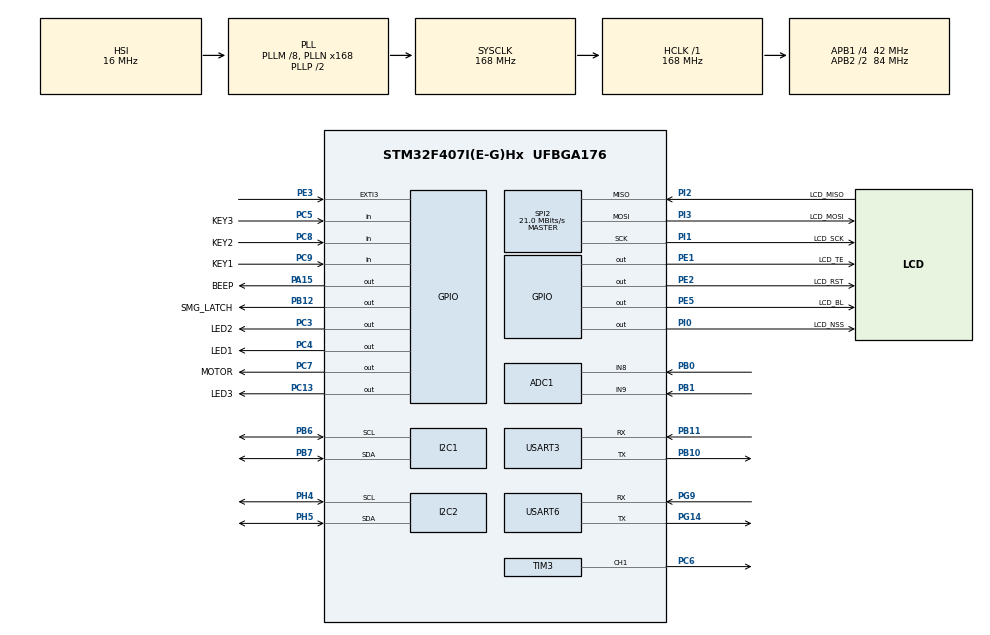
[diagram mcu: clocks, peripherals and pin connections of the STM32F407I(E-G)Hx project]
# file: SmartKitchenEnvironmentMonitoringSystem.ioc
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ADC1.Channel-3\#ChannelRegularConversion=ADC_CHANNEL_8
ADC1.Channel-4\#ChannelRegularConversion=ADC_CHANNEL_9
ADC1.ContinuousConvMode=ENABLE
ADC1.DMAContinuousRequests=ENABLE
ADC1.NbrOfConversion=2
ADC1.NbrOfConversionFlag=1
ADC1.Rank-3\#ChannelRegularConversion=1
ADC1.Rank-4\#ChannelRegularConversion=2
ADC1.SamplingTime-3\#ChannelRegularConversion=ADC_SAMPLETIME_84CYCLES
ADC1.SamplingTime-4\#ChannelRegularConversion=ADC_SAMPLETIME_84CYCLES
ADC1.ScanConvMode=ENABLE
ADC1.master=1
Dma.ADC1.0.Direction=DMA_PERIPH_TO_MEMORY
Dma.ADC1.0.FIFOMode=DMA_FIFOMODE_ENABLE
Dma.ADC1.0.FIFOThreshold=DMA_FIFO_THRESHOLD_FULL
Dma.ADC1.0.Instance=DMA2_Stream0
Dma.ADC1.0.MemBurst=DMA_MBURST_SINGLE
Dma.ADC1.0.MemDataAlignment=DMA_MDATAALIGN_HALFWORD
Dma.ADC1.0.MemInc=DMA_MINC_ENABLE
Dma.ADC1.0.Mode=DMA_CIRCULAR
Dma.ADC1.0.PeriphBurst=DMA_PBURST_SINGLE
Dma.ADC1.0.PeriphDataAlignment=DMA_PDATAALIGN_HALFWORD
Dma.ADC1.0.PeriphInc=DMA_PINC_DISABLE
Dma.ADC1.0.Priority=DMA_PRIORITY_LOW
Dma.Request0=ADC1
FREERTOS.Queues01=qSensorData,4,SensorData_t,0,Dynamic,NULL,NULL
FREERTOS.Tasks01=defaultTask,24,128,StartDefaultTask,Default,NULL,Dynamic,NULL,NULL;LCDTask,8,1024,DisplayTask,Default,NULL,Dynamic,NULL,NULL;SensorTask,32,1024,SensorTaskEntry,Default,NULL,Dynamic,NULL,NULL;WifiTask,40,1536,WifiTaskEntry,Default,NULL,Dynamic,NULL,NULL;LogTask,16,512,LogTaskEntry,Default,NULL,Dynamic,NULL,NULL;AlarmTask,48,512,AlarmTaskEntry,Default,NULL,Dynamic,NULL,NULL
FREERTOS.configTOTAL_HEAP_SIZE=24576
I2C2.I2C_Mode=I2C_Fast
Mcu.Family=STM32F4
Mcu.Name=STM32F407I(E-G)Hx
Mcu.Package=UFBGA176
NVIC.DMA2_Stream0_IRQn=true\:5\:0\:false\:false\:true\:true\:false\:true\:true
NVIC.EXTI3_IRQn=true\:5\:0\:false\:false\:true\:true\:true\:true\:true
NVIC.FLASH_IRQn=true\:5\:0\:false\:false\:true\:true\:true\:true\:true
NVIC.I2C1_ER_IRQn=true\:5\:0\:false\:false\:true\:true\:true\:true\:true
NVIC.I2C1_EV_IRQn=true\:5\:0\:false\:false\:true\:true\:true\:true\:true
NVIC.PriorityGroup=NVIC_PRIORITYGROUP_4
NVIC.TIM2_IRQn=true\:5\:0\:false\:false\:true\:true\:true\:true\:true
NVIC.TIM6_DAC_IRQn=true\:15\:0\:false\:false\:true\:false\:false\:true\:true
NVIC.TimeBase=TIM6_DAC_IRQn
NVIC.TimeBaseIP=TIM6
NVIC.USART3_IRQn=true\:6\:0\:true\:false\:true\:true\:true\:true\:true
PA13.Mode=Serial_Wire
PA13.Signal=SYS_JTMS-SWDIO
PA14.Mode=Serial_Wire
PA14.Signal=SYS_JTCK-SWCLK
PA15.GPIO_Label=BEEP
PA15.PinState=GPIO_PIN_RESET
PA15.Signal=GPIO_Output
PB0.Signal=ADCx_IN8
PB1.Signal=ADCx_IN9
PB10.Mode=Asynchronous
PB10.Signal=USART3_TX
PB11.Mode=Asynchronous
PB11.Signal=USART3_RX
PB12.GPIO_Label=SMG_LATCH
PB12.Signal=GPIO_Output
PB6.Mode=I2C
PB6.Signal=I2C1_SCL
PB7.Mode=I2C
PB7.Signal=I2C1_SDA
PC13-ANTI_TAMP.GPIO_Label=LED3
PC13-ANTI_TAMP.Signal=GPIO_Output
PC3.GPIO_Label=LED2
PC3.Signal=GPIO_Output
PC4.GPIO_Label=LED1
PC4.GPIO_Speed=GPIO_SPEED_FREQ_LOW
PC4.PinState=GPIO_PIN_SET
PC4.Signal=GPIO_Output
PC5.GPIO_Label=KEY3
PC5.GPIO_PuPd=GPIO_PULLUP
PC5.Signal=GPIO_Input
PC6.Signal=S_TIM3_CH1
PC7.GPIO_Label=MOTOR
PC7.Signal=GPIO_Output
PC8.GPIO_Label=KEY2
PC8.GPIO_PuPd=GPIO_PULLUP
PC8.Signal=GPIO_Input
PC9.GPIO_Label=KEY1
PC9.Signal=GPIO_Input
PE1.GPIO_Label=LCD_TE
PE1.Signal=GPIO_Output
PE2.GPIO_Label=LCD_RST
PE2.GPIO_Speed=GPIO_SPEED_FREQ_VERY_HIGH
PE2.PinState=GPIO_PIN_SET
PE2.Signal=GPIO_Output
PE3.Signal=GPXTI3
PE5.GPIO_Label=LCD_BL
PE5.PinState=GPIO_PIN_SET
PE5.Signal=GPIO_Output
PG14.Mode=Asynchronous
PG14.Signal=USART6_TX
PG9.Mode=Asynchronous
PG9.Signal=USART6_RX
PH0-OSC_IN.Mode=HSE-External-Oscillator
PH0-OSC_IN.Signal=RCC_OSC_IN
PH1-OSC_OUT.Mode=HSE-External-Oscillator
PH1-OSC_OUT.Signal=RCC_OSC_OUT
PH4.Mode=I2C
PH4.Signal=I2C2_SCL
PH5.Mode=I2C
PH5.Signal=I2C2_SDA
PI0.GPIO_Label=LCD_NSS
PI0.GPIO_Speed=GPIO_SPEED_FREQ_VERY_HIGH
PI0.PinState=GPIO_PIN_SET
PI0.Signal=GPIO_Output
PI1.GPIO_Label=LCD_SCK
PI1.Mode=Full_Duplex_Master
PI1.Signal=SPI2_SCK
PI2.GPIO_Label=LCD_MISO
PI2.Mode=Full_Duplex_Master
PI2.Signal=SPI2_MISO
PI3.GPIO_Label=LCD_MOSI
PI3.Mode=Full_Duplex_Master
PI3.Signal=SPI2_MOSI
ProjectManager.HeapSize=0x200
ProjectManager.StackSize=0x800
ProjectManager.TargetToolchain=MDK-ARM V5.32
RCC.48MHZClocksFreq_Value=84000000
RCC.AHBFreq_Value=168000000
RCC.APB1CLKDivider=RCC_HCLK_DIV4
RCC.APB1Freq_Value=42000000
RCC.APB1TimFreq_Value=84000000
RCC.APB2CLKDivider=RCC_HCLK_DIV2
RCC.APB2Freq_Value=84000000
RCC.APB2TimFreq_Value=168000000
RCC.CortexFreq_Value=168000000
RCC.HCLKFreq_Value=168000000
RCC.HSE_VALUE=25000000
RCC.HSI_VALUE=16000000
RCC.LSE_VALUE=32768
RCC.PLLM=8
RCC.PLLN=168
RCC.SYSCLKFreq_VALUE=168000000
RCC.SYSCLKSource=RCC_SYSCLKSOURCE_PLLCLK
RCC.VCOOutputFreq_Value=336000000
SH.ADCx_IN8.0=ADC1_IN8,IN8
SH.ADCx_IN9.0=ADC1_IN9,IN9
SH.S_TIM3_CH1.0=TIM3_CH1,PWM Generation1 CH1
SPI2.CalculateBaudRate=21.0 MBits/s
SPI2.Direction=SPI_DIRECTION_2LINES
SPI2.Mode=SPI_MODE_MASTER
SPI2.VirtualType=VM_MASTER
TIM2.Period=999
TIM2.Prescaler=83
TIM3.Channel-PWM\ Generation1\ CH1=TIM_CHANNEL_1
TIM3.Period=999
TIM3.Prescaler=83
USART3.VirtualMode=VM_ASYNC
USART6.VirtualMode=VM_ASYNC
VP_ADC1_TempSens_Input.Mode=IN-TempSens
VP_ADC1_Vbat_Input.Mode=IN-Vbat
VP_ADC1_Vref_Input.Mode=IN-Vrefint
VP_FREERTOS_VS_CMSIS_V2.Mode=CMSIS_V2
VP_SYS_VS_tim6.Mode=TIM6
VP_TIM2_VS_ClockSourceINT.Mode=Internal
VP_TIM3_VS_ClockSourceINT.Mode=Internal
board=custom

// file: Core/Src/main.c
/* USER CODE BEGIN Header */
/**
  ******************************************************************************
  * @file           : main.c
  * @brief          : Main program body
  ******************************************************************************
  * @attention
  *
  * Copyright (c) 2026 STMicroelectronics.
  * All rights reserved.
  *
  * This software is licensed under terms that can be found in the LICENSE file
  * in the root directory of this software component.
  * If no LICENSE file comes with this software, it is provided AS-IS.
  *
  ******************************************************************************
  */
/* USER CODE END Header */
#include "main.h"
#include "cmsis_os.h"
#include "adc.h"
#include "dma.h"
#include "i2c.h"
#include "spi.h"
#include "tim.h"
#include "usart.h"
#include "gpio.h"

/* USER CODE BEGIN Includes */
#include "bsp_tick.h"
#include "debug_uart.h"
#include "bsp_led.h"
#include "bsp_key.h"
#include "bsp_smg.h"
#include "bsp_beep.h"
#include "bsp_fan.h"
#include "bsp_adc.h"
#include "app_power.h"
#include "bsp_flame.h"
#include "app_state.h"
#include "alarm.h"
#include "drv_sht20.h"       /* 温湿度传感器，非阻塞状态机 */
#include "drv_ap3216c.h"    /* 光照+接近传感器，寄存器式 I2C */
#include "bsp_wifi.h"        /* ESP8266，USART3 */
#include "app_cloud.h"       /* 云端应用层，需求 12/13 */

#include "bsp_ft6336.h"
#include "bsp_ili9341_4line.h"

#include "lvgl.h"
#include "lv_port_disp.h"
#include "lv_port_indev.h"

#include "stdio.h"
#include "ui.h"
#include "ui_custom.h"
/* USER CODE END Includes */

/* USER CODE BEGIN PTD */
#define PAGE_NORMAL_CNT   5u
#define PAGE_ADMIN_CNT    4u
/* USER CODE END PTD */

void SystemClock_Config(void);
void MX_FREERTOS_Init(void);

/* USER CODE BEGIN 0 */
uint8_t s_demo_alarm = 0;   /* 1 = KEY3 手动演示报警中（绕过真实状态机）
                                    *   放文件作用域是因为 main() 主循环和 Ui_Task()
                                    *   都要看它：主循环决定 Alarm_Apply 传哪个状态，
                                    *   Ui_Task 决定显示报警码还是读数 */

/**
 * @brief  按键响应 + 数码管上屏。主循环每圈调一次
 * @note   必须是独立函数 —— 里面用 return 提前退出（报警态覆盖），
 *         若直接写在 while(1) 里，return 会结束 main 让系统停摆。
 */
void Ui_Task(void)
{
    /* ---- 状态变量：static 保证跨圈保留，不加就每圈归零 ---- */
    static uint8_t  s_mode     = 0;      /* 0 = NORMAL   1 = ADMIN */
    static uint8_t  s_page     = 0;      /* 当前页号 */
    static uint32_t s_t_blink  = 0;      /* ADMIN 模式整屏闪烁计时 */
    static uint8_t  s_blink_on = 1;      /* 1 = 亮相位  0 = 灭相位 */

    float   v;                           /* 本页要显示的物理量 */
    int32_t n;                           /* ×100 后的整数 */

    /* ==================== ① 按键 ==================== */

    /* KEY1：切模式，切完回第一页（否则页号越界）*/
    if (Key_GetPressEvent(KEY_ID_1)) {
        s_mode = (uint8_t)(s_mode ^ 1u);
        s_page = 0;
    }

    /* KEY2：翻页，页数随模式变 */
    if (Key_GetPressEvent(KEY_ID_2)) {
        if (s_mode == 0u) {
            s_page = (uint8_t)((s_page + 1u) % PAGE_NORMAL_CNT);   /* 5 页 */
        } else {
            s_page = (uint8_t)((s_page + 1u) % PAGE_ADMIN_CNT);    /* 4 个阈值 */
        }
    }

    /* KEY3：报警演示 / 静音切换
     *   ① 没在报警 → 进「演示报警」：灯闪 + 蜂鸣器 + 风扇全速 + 马达开 + 数码管 8888
     *   ② 演示中    → 退出演示，蜂鸣器/风扇/马达一起停
     *   ③ 真报警中  → 静音 ⇄ 响 切换（原有功能） */
    if (Key_GetPressEvent(KEY_ID_3)) {
        if (s_demo_alarm != 0u) {
            /* ---- 退出演示：无条件全停 ----
             * ⚠️ 这里不再判断 App_State_Get()。上一版加了
             *    `if (App_State_Get() != SYS_ALARM)` 想"真报警就别硬停"，
             *    结果只要状态机留在 ALARM 就一次都不停 —— 演示开关
             *    反而关不掉，最坏的情况。
             *    退出演示是用户明确的意图，就必须无条件执行。 */
            s_demo_alarm = 0u;
            Beep_Stop();
            Fan_Off();                       /* 风扇：CCR1 = 0 */
            MOTOR_OFF();                     /* 马达：PC7 = 低 */
            Alarm_Reset();                   /* 作废 s_cur，逼下一圈重走分支 */

            printf("KEY3 EXIT demo: state=%d fan=%u\r\n",
                   (int)App_State_Get(), (unsigned)Fan_GetSpeed());
        } else if (App_State_Get() == SYS_ALARM) {
            Alarm_ToggleSilence();           /* 真报警：只切蜂鸣器，灯/风扇/马达继续 */
        } else {
            s_demo_alarm = 1u;               /* 进演示：主循环会 Alarm_Apply(SYS_ALARM) */
            Beep_Stop();                     /* 先把上一声掐掉，让 Alarm_Task 从头响 */
        }
    }

    /* ==================== ② ADMIN 整屏闪烁计时 ==================== */
    /* 500ms 翻转一次 → 1Hz 闪。只在 ADMIN 模式推进，切回 NORMAL 立刻恢复常亮 */
    if (s_mode == 1u) {
        if (Tick_Expired(&s_t_blink, 500u)) {
            s_blink_on = (uint8_t)(s_blink_on ^ 1u);
        }
    } else {
        s_blink_on = 1u;                 /* NORMAL 保持常亮 */
        s_t_blink  = Tick_Ms();          /* 重置计时，下次进 ADMIN 从头算 */
    }

    /* ==================== ③ 报警态强制显示报警码 ==================== */
    /* s_demo_alarm 也要走这里：演示时状态机是 NORMAL，但画面必须像真报警 */
    if (s_demo_alarm != 0u || App_State_Get() == SYS_ALARM) {
        if (s_demo_alarm != 0u || App_State_GetReason() == ALARM_POWER) {
            Smg_ShowNum(8888u);          /* ← 用电异常码：四个 8（演示也用这个） */
        } else {
            Smg_ShowNum(9999u);          /*   明火报警码：四个 9 */
        }
        return;                          /* ⚠️ 退出 Ui_Task，别覆盖报警码 */
    }

    /* ==================== ④ 按模式选值 ==================== */
    if(s_mode == 0u) {
        /* ---- NORMAL：5 页测量值 ---- */
        switch (s_page) {
            case 0:  v = Sht20_GetTemp();       break;   /* 温度：28.43 */
            case 1:  v = Sht20_GetHumi();       break;   /* 湿度：57.60 */
            case 2:  /* 电压：5.00 → "05.00"，四位全亮（前导 0 保留，不熄灭） */
                     n = (int32_t)(Power_GetVoltage() * 100.0f + 0.5f);
                     if (n < 0)    { n = 0; }
                     if (n > 9999) { n = 9999; }
                     Smg_ShowDp((uint32_t)n, 1u);
                     return;
            case 3:  /* 电流：直接显示 mA → "0199"，四位全亮（单位 mA，答辩时说清）
                      *  ↑ 为什么不显示 A：0.199A 要显示成 "0.20"，得占 4 位且小数点在
                      *    第一位后，Smg_ShowDp 做出来是 "002.0" —— 会被读成 2A，非常危险。
                      *    显示 mA 没有歧义 */
                     n = (int32_t)(Power_GetCurrent() + 0.5f);
                     if (n < 0)    { n = 0;    }
                     if (n > 9999) { n = 9999; }
                     Smg_ShowNum((uint32_t)n);
                     return;
            default: v = 0.0f;                break;   /* 第 4 页报警码，正常时不显示 */
        }
    }else {
        /* ---- ADMIN：4 个阈值，完整显示 xx.xx + 整屏 1Hz 闪烁 ---- */
        v = App_State_GetThreshold((ThId_t)s_page);
        n = (int32_t)(v * 100.0f + 0.5f);    /* 35.0 → 3500 */
        if (n < 0)    { n = 0;    }
        if (n > 9999) { n = 9999; }

        if (s_blink_on == 0u) {
            Smg_Clear();                     /* 灭相位：整屏熄灭 */
        } else {
            Smg_ShowDp((uint32_t)n, 2u);     /* 亮相位：35.00 / 33.00 / 85.00 / 80.00 */
        }
        /*  ↑ 为什么用「整屏闪」而不是「熄灭某一位」：
         *    熄灭一位看起来就是屏幕坏了（"百位不显示"），
         *    整屏闪烁既能一眼认出是设置模式，四个数字又都完整。
         *  ↑ 为什么灭相位调 Smg_Clear 而不是显示另一个数：
         *    显示另一个数会让屏幕像在"数字乱跳"，反而看不出是闪烁。 */
        return;
    }

    /* ==================== ⑤ NORMAL 换算：×100 四舍五入 + 钳位 ==================== */
    n = (int32_t)(v * 100.0f + 0.5f);    /* 四舍五入到两位小数 */

    if (n < 0)    { n = 0; }             /* 负值钳位，不然强转成 42 亿 */
    if (n > 9999) { n = 9999; }          /* 4 位装不下 */

    /* ==================== ⑥ NORMAL 上屏：带小数点，常亮 ==================== */
    Smg_ShowDp((uint32_t)n, 1u);         /* 27.63 / 56.37 / 5.00 / 0.20 */
}

void AlarmTask(void *argument)
{
    for (;;) {
        /* ① 按应用层算出来的状态，驱动 LED / 蜂鸣器 / 风扇 / 马达。
         *    Alarm_Apply 内部第一行就是 if (st == s_cur) return;
         *    所以这里每 10ms 调一次也不会重复动作，只有状态真正变了才切。 */
        Alarm_Apply(App_State_Get());

        /* ② 推进时序：LED 闪烁、蜂鸣器间歇鸣叫都是靠这三句每圈翻页 */
        Alarm_Task();
        Led_Task();
        Beep_Task();

        osDelay(10);
    }
}

/* ---- 让三屏所有后代对象把手势事件冒泡到 Screen ---- */
static void ui_gesture_bubble_rec(lv_obj_t *obj)
{
    uint32_t n = lv_obj_get_child_cnt(obj);
    for (uint32_t i = 0; i < n; i++) {
        lv_obj_t *c = lv_obj_get_child(obj, i);
        lv_obj_add_flag(c, LV_OBJ_FLAG_GESTURE_BUBBLE);
        ui_gesture_bubble_rec(c);
    }
}

/* USER CODE END 0 */

int main(void)
{

  /* USER CODE BEGIN 1 */
	HAL_NVIC_SetPriority(SysTick_IRQn, 0, 0);//
  /* USER CODE END 1 */

  /* MCU Configuration--------------------------------------------------------*/

  /* Reset of all peripherals, Initializes the Flash interface and the Systick. */
  HAL_Init();

  /* Configure the system clock */
  SystemClock_Config();

  /* Initialize all configured peripherals */
  MX_GPIO_Init();
  MX_DMA_Init();
  MX_SPI2_Init();
  MX_I2C1_Init();
  MX_ADC1_Init();
  MX_TIM2_Init();
  MX_TIM3_Init();
  MX_USART6_UART_Init();
  MX_USART3_UART_Init();
  MX_I2C2_Init();
  /* USER CODE BEGIN 2 */
	Wifi_Connect();
	/* ==================== ⓪ 显示栈（必须在最前面）==================== */
  /* 顺序不能乱：屏要复位 → LVGL 内核 → 显示驱动 → 输入驱动 → 建控件 */
	ILI9341_Init();        /* 屏幕硬件复位 + SPI 初始化 */
	FT6336_init();         /* 触摸芯片 */
	lv_init();             /* LVGL 内核 */
	lv_port_disp_init();   /* 注册显示驱动 —— LVGL 靠它知道往哪画 */
	lv_port_indev_init();  /* 注册输入驱动 */
	ui_init();             /* 创建三屏所有控件 */
	App_State_Init();      /* ★ 先把阈值/使能表填上，下面回填才读得到真值 */
	Ui_BindEvents();       /* ★ 再挂事件并回填（此时 s_th[] = {33,31,60,55}） */

	ui_gesture_bubble_rec(ui_ScreenMain);
  ui_gesture_bubble_rec(ui_ScreenSetting);
  ui_gesture_bubble_rec(ui_ScreenAlarm);
  ui_gesture_bubble_rec(ui_ScreenWifi);

  /* ==================== ① 时钟节拍 ==================== */
  Tick_Init();                      /* 空实现：SysTick 已由 HAL_Init 配好 1ms */

  /* ==================== ② 输出先摆到安全态 ==================== */
  /* ⚠️ 顺序讲究：先把所有会动的输出关掉，再启动任何外设。
     上电瞬间风扇/蜂鸣器/马达自己动一下，答辩现场很扣分。 */
  Led_Init();                       /* 三灯全灭 */
  Beep_Init();                      /* 蜂鸣器先哑着 */
  Fan_Init();                       /* 启动 TIM3_CH1 PWM，CCR=0 不转 */
  Smg_Init();                       /* ★ 启动 TIM2 1ms 中断；少这一句整屏不亮，
                                       因为没有任何人会去刷新 s_buf */
  MOTOR_OFF();                      /* PC7 马达停 */

  /* ==================== ③ 输入 ==================== */
  Key_Init();                       /* PC9/PC8/PC5 输入 + 上拉 */
  Flame_Init();                     /* PB3/PB4 双边沿 EXTI + NVIC */
  /* ⚠️ Flame_Init 必须排在 App_State_Task 之前：
     s_flame_lvl 是 static，初值 0，而 FLAME_ACTIVE_LEVEL 恰好也是 0，
     不先读一次真实电平，状态机会一直判「有火」，上电即 ALARM。 */

  /* ==================== ④ 传感器 ==================== */
  Sht20_Init();                     /* 复位温湿度状态机（不碰硬件） */
  Ap3216_Init();                    /* 光照 + 接近，寄存器式 I2C */
  Power_Init();                     /* 内含 Adc_Init：启动 ADC + DMA 循环搬运 */

  /* ==================== ⑤ 应用层 ==================== */
  /*App_State_Init();                  ★ 填阈值表。不调的话 s_th[] 全 0，
                                       温度 25 > 0 → 一上电就 WARN */
  Alarm_Init();                     /* s_cur 归位 NORMAL，风扇/马达停 */
  Cloud_Init();                     /* 云端层：清手动覆盖状态 */
	/* I2C1 先诊断总线（读线电平 + 必要时 9 脉冲解锁），再扫描地址。
	   两根线都低就别扫了 —— 128 个地址 × 2 次 × 10ms = 2.5 秒白等，
	   而且它会顶到 WWDG。 */
	{
	    uint8_t rc = I2C1_DiagAndRecover();
	    printf("[I2C1] diag rc=%u (0=OK 1=unlocked 2=hardware)\r\n", (unsigned)rc);

	    if (rc == 2u) {
	        printf("[I2C1] skip scan: check VCC of SHT20 / AP3216C, and PB6-PB7 wiring\r\n");
	    } else {
	        printf("[I2C1] scan start\r\n");
	        for (uint16_t a = 1; a < 128; a++) {
	            if (HAL_I2C_IsDeviceReady(&hi2c1, (uint16_t)(a << 1), 2, 10) == HAL_OK) {
	                printf("[I2C1] found 0x%02X\r\n", (unsigned)a);
	            }
	        }
	        printf("[I2C1] scan done\r\n");
	    }
	}

	/* I2C2（触摸 FT6336，PH4/PH5）：这条一直通，扫一遍当对照组 */
	printf("[I2C2] scan start\r\n");
	for (uint8_t a = 1; a < 128; a++) {
	    if (HAL_I2C_IsDeviceReady(&hi2c2, (uint16_t)(a << 1), 2, 10) == HAL_OK) {
	        printf("[I2C2] found 0x%02X\r\n", a);
	    }
	}
	printf("[I2C2] scan done\r\n");

  /* 挂上 ESP8266 接收。只挂这一次 ——
     回调里每帧结束会自己重新挂，多挂一次会导致第一帧被覆盖 */
  HAL_UARTEx_ReceiveToIdle_IT(&huart3, USART3_RxBuff, BSP_WIFI_RX_BUF_SIZE - 1);

  /* USER CODE END 2 */

  /* Init scheduler */
  osKernelInitialize();  /* Call init function for freertos objects (in cmsis_os2.c) */
  MX_FREERTOS_Init();

  /* Start scheduler */
  osKernelStart();

  /* We should never get here as control is now taken by the scheduler */

  /* Infinite loop */
  while (1)
  {

  }
}

void SystemClock_Config(void)
{
  RCC_OscInitTypeDef RCC_OscInitStruct = {0};
  RCC_ClkInitTypeDef RCC_ClkInitStruct = {0};

  /** Configure the main internal regulator output voltage
  */
  __HAL_RCC_PWR_CLK_ENABLE();
  __HAL_PWR_VOLTAGESCALING_CONFIG(PWR_REGULATOR_VOLTAGE_SCALE1);

  /** Initializes the RCC Oscillators according to the specified parameters
  * in the RCC_OscInitTypeDef structure.
  */
  RCC_OscInitStruct.OscillatorType = RCC_OSCILLATORTYPE_HSI;
  RCC_OscInitStruct.HSIState = RCC_HSI_ON;
  RCC_OscInitStruct.HSICalibrationValue = RCC_HSICALIBRATION_DEFAULT;
  RCC_OscInitStruct.PLL.PLLState = RCC_PLL_ON;
  RCC_OscInitStruct.PLL.PLLSource = RCC_PLLSOURCE_HSI;
  RCC_OscInitStruct.PLL.PLLM = 8;
  RCC_OscInitStruct.PLL.PLLN = 168;
  RCC_OscInitStruct.PLL.PLLP = RCC_PLLP_DIV2;
  RCC_OscInitStruct.PLL.PLLQ = 4;
  if (HAL_RCC_OscConfig(&RCC_OscInitStruct) != HAL_OK)
  {
    Error_Handler();
  }

  /** Initializes the CPU, AHB and APB buses clocks
  */
  RCC_ClkInitStruct.ClockType = RCC_CLOCKTYPE_HCLK|RCC_CLOCKTYPE_SYSCLK
                              |RCC_CLOCKTYPE_PCLK1|RCC_CLOCKTYPE_PCLK2;
  RCC_ClkInitStruct.SYSCLKSource = RCC_SYSCLKSOURCE_PLLCLK;
  RCC_ClkInitStruct.AHBCLKDivider = RCC_SYSCLK_DIV1;
  RCC_ClkInitStruct.APB1CLKDivider = RCC_HCLK_DIV4;
  RCC_ClkInitStruct.APB2CLKDivider = RCC_HCLK_DIV2;

  if (HAL_RCC_ClockConfig(&RCC_ClkInitStruct, FLASH_LATENCY_5) != HAL_OK)
  {
    Error_Handler();
  }
}

void HAL_TIM_PeriodElapsedCallback(TIM_HandleTypeDef *htim)
{
  if (htim->Instance == TIM6)
  {
    HAL_IncTick();
  }
}

void Error_Handler(void)
{
  __disable_irq();
  while (1)
  {
  }
}

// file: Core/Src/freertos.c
/* USER CODE BEGIN Header */
/**
  ******************************************************************************
  * File Name          : freertos.c
  * Description        : Code for freertos applications
  ******************************************************************************
  * @attention
  *
  * Copyright (c) 2026 STMicroelectronics.
  * All rights reserved.
  *
  * This software is licensed under terms that can be found in the LICENSE file
  * in the root directory of this software component.
  * If no LICENSE file comes with this software, it is provided AS-IS.
  *
  ******************************************************************************
  */
/* USER CODE END Header */

#include "FreeRTOS.h"
#include "task.h"
#include "main.h"
#include "cmsis_os.h"

/* USER CODE BEGIN Includes */
#include "bsp_ft6336.h"
#include "bsp_ili9341_4line.h"

#include "lvgl.h"
#include "lv_port_disp.h"
#include "lv_port_indev.h"

#include "stdio.h"
#include "ui.h"
#include "ui_custom.h"      /* ★ 手写的 UI 逻辑都在这里，别写进 LVGL_CUT/UI */

/* ★ 新增：任务之间靠这几个头文件通信 */
#include "app_msg.h"        /* SensorData_t + 队列句柄 extern */
#include "app_log.h"
#include "drv_sht20.h"      /* Sht20_* */
#include "drv_ap3216c.h"    /* Ap3216_* */
#include "app_power.h"      /* Power_* */
#include "app_state.h"      /* App_State_* */
#include "bsp_key.h"        /* Key_Scan / Key_GetEvent（阶段 2 用） */
#include "alarm.h"          /* Alarm_Apply / Alarm_Task（阶段 2 用） */

#include "bsp_wifi.h"				/*Wifi_Task*/
#include "app_cloud.h"			/*Cloud_Taks*/
/* USER CODE END Includes */

/* USER CODE BEGIN PTD */
/* ---- 句柄与属性 ---- */
osThreadId_t defaultTaskHandle;   /* 留着，CubeMX 默认，空转无害 */
osThreadId_t LCDTaskHandle;       /* DisplayTask */
osThreadId_t SensorTaskHandle;
osThreadId_t AlarmTaskHandle;
osThreadId_t WifiTaskHandle;
osThreadId_t LogTaskHandle;

osMessageQueueId_t qSensorDataHandle;
/* USER CODE END PTD */

/* USER CODE BEGIN PD */
void SensorTask(void *argument);      /* 私有实现，在文件末尾定义 */
void AlarmTask(void *argument);       /* 在 main.c 里，转调当报警任务入口 */
/* USER CODE END PD */

/* Definitions for defaultTask */
osThreadId_t defaultTaskHandle;
const osThreadAttr_t defaultTask_attributes = {
  .name = "defaultTask",
  .stack_size = 128 * 4,
  .priority = (osPriority_t) osPriorityNormal,
};
/* Definitions for LCDTask */
osThreadId_t LCDTaskHandle;
const osThreadAttr_t LCDTask_attributes = {
  .name = "LCDTask",
  .stack_size = 1024 * 4,
  .priority = (osPriority_t) osPriorityLow,
};
/* Definitions for SensorTask */
osThreadId_t SensorTaskHandle;
const osThreadAttr_t SensorTask_attributes = {
  .name = "SensorTask",
  .stack_size = 1024 * 4,
  .priority = (osPriority_t) osPriorityAboveNormal,
};
/* Definitions for WifiTask */
osThreadId_t WifiTaskHandle;
const osThreadAttr_t WifiTask_attributes = {
  .name = "WifiTask",
  .stack_size = 1536 * 4,
  .priority = (osPriority_t) osPriorityHigh,
};
/* Definitions for LogTask */
osThreadId_t LogTaskHandle;
const osThreadAttr_t LogTask_attributes = {
  .name = "LogTask",
  .stack_size = 512 * 4,
  .priority = (osPriority_t) osPriorityBelowNormal,
};
/* Definitions for AlarmTask */
osThreadId_t AlarmTaskHandle;
const osThreadAttr_t AlarmTask_attributes = {
  .name = "AlarmTask",
  .stack_size = 512 * 4,
  .priority = (osPriority_t) osPriorityRealtime,
};
/* Definitions for qSensorData */
osMessageQueueId_t qSensorDataHandle;
const osMessageQueueAttr_t qSensorData_attributes = {
  .name = "qSensorData"
};

/* USER CODE BEGIN FunctionPrototypes */
void vApplicationTickHook(void);
/* USER CODE END FunctionPrototypes */

void StartDefaultTask(void *argument);
void DisplayTask(void *argument);
void SensorTaskEntry(void *argument);
void WifiTaskEntry(void *argument);
void LogTaskEntry(void *argument);
void AlarmTaskEntry(void *argument);

void MX_FREERTOS_Init(void); /* (MISRA C 2004 rule 8.1) */

void MX_FREERTOS_Init(void) {

  /* Create the queue(s) */
  /* creation of qSensorData */
  qSensorDataHandle = osMessageQueueNew (4, sizeof(SensorData_t), &qSensorData_attributes);

  /* Create the thread(s) */
  /* creation of defaultTask */
  defaultTaskHandle = osThreadNew(StartDefaultTask, NULL, &defaultTask_attributes);

  /* creation of LCDTask */
  LCDTaskHandle = osThreadNew(DisplayTask, NULL, &LCDTask_attributes);

  /* creation of SensorTask */
  SensorTaskHandle = osThreadNew(SensorTaskEntry, NULL, &SensorTask_attributes);

  /* creation of WifiTask */
  WifiTaskHandle = osThreadNew(WifiTaskEntry, NULL, &WifiTask_attributes);

  /* creation of LogTask */
  LogTaskHandle = osThreadNew(LogTaskEntry, NULL, &LogTask_attributes);

  /* creation of AlarmTask */
  AlarmTaskHandle = osThreadNew(AlarmTaskEntry, NULL, &AlarmTask_attributes);

}

void StartDefaultTask(void *argument)
{
  for(;;)
  {
    osDelay(1);
  }
}

void DisplayTask(void *argument)
{
  /* USER CODE BEGIN DisplayTask */
  SensorData_t d = {0};          /* 初始化：valid=0 时别留栈垃圾 */
  uint32_t     tick = 0;
  uint32_t     sec  = 0;
  uint32_t     last = HAL_GetTick();

  for (;;) {
      uint32_t now = HAL_GetTick();
      lv_tick_inc(now - last);
      last = now;

      while (osMessageQueueGet(qSensorDataHandle, &d, NULL, 0) == osOK) {
          /* ★ 每一路各看各的就绪标志，不能因为 SHT20 没跑完就把五路全刷成 "--"。
           *   d.valid 只代表「SHT20 这一轮读成功」，跟光照 / 电压 / 电流毫无关系。 */

          /* --- ① 温度 / 湿度：只看 SHT20 --- */
          if (d.valid) {
              lv_label_set_text_fmt(ui_labTempVal, "%.1f", d.temp_c);
              lv_label_set_text_fmt(ui_labHumiVal, "%.1f", d.humi_rh);
          } else {
              lv_label_set_text(ui_labTempVal, "--");
              lv_label_set_text(ui_labHumiVal, "--");
          }

          /* --- ② 光照：只看 AP3216（它要写配置寄存器，上电失败会一直不 ready） --- */
          if (Ap3216_IsReady()) {
              lv_label_set_text_fmt(ui_labLightVal, "%u", (unsigned)d.light_lux);
          } else {
              lv_label_set_text(ui_labLightVal, "--");
          }

          /* --- ③ 电压 / 电流：ADC 永远有值，但 0V 明显是没采样到，算无效 --- */
          if (d.volt_v > 1.0f) {
              lv_label_set_text_fmt(ui_labVoltVal, "%.1f", d.volt_v);
              lv_label_set_text_fmt(ui_labCurrVal, "%.2f", d.curr_a);
          } else {
              lv_label_set_text(ui_labVoltVal, "--");
              lv_label_set_text(ui_labCurrVal, "--");
          }
      }

      lv_timer_handler();
			      Ui_ScreenSwitch_Handle();        /* ← 新增这行：LVGL 处理完输入，这里切屏才安全 */
      osDelay(5);

      if (++tick >= 200) {
          tick = 0;
          sec++;
          lv_label_set_text_fmt(ui_labClock, "%02d:%02d",
                                (10 + sec / 60) % 24, sec % 60);
          Ui_RefreshStatus();        /* ★ 底栏三格 + 顶栏指示灯，1 秒一次 */
          printf("[D] sec=%lu heap=%u sht_rdy=%u ap_err=%lu act=%p\r\n",
                 (unsigned long)sec,
                 (unsigned)xPortGetFreeHeapSize(),
                 (unsigned)Sht20_IsReady(),
                 (unsigned long)Ap3216_GetErrCount(),
                 (void *)lv_scr_act());

          Ui_CfgDebugPrint();        /* 设置页阈值 + 使能位，1 秒一次 */
					}
  }
  /* USER CODE END DisplayTask */
}

void SensorTaskEntry(void *argument)
{
  /* USER CODE BEGIN SensorTaskEntry */
  SensorTask(argument);      /* 转进真正的实现，里面死循环不返回 */

  /* USER CODE END SensorTaskEntry */
}

void WifiTaskEntry(void *argument)
{
  /* USER CODE BEGIN WifiTaskEntry */
  (void)argument;

  for (;;)
  {
    Wifi_Task();       /* ① 推进 AT 状态机一步（内部用 Tick_Expired 判断节流，不阻塞） */
    Cloud_Task();      /* ② 收远程指令 + 定时上报（内部也是非阻塞的） */
    osDelay(10);       /* ③ ★ 必须给：两个函数都是"推进一步就返回"，不给 delay 会空转吃满 CPU */
  }
  /* USER CODE END WifiTaskEntry */
}

void LogTaskEntry(void *argument)
{
  for(;;)
  {
    osDelay(1);
  }
}

void AlarmTaskEntry(void *argument)
{
  /* USER CODE BEGIN AlarmTaskEntry */
  /* Infinite loop */
  AlarmTask(argument);/* 转调 main.c 里的实现，内部自己 for(;;) 不返回 */
  for(;;)
  {
    osDelay(1);
  }
  /* USER CODE END AlarmTaskEntry */
}

/* USER CODE BEGIN Application */
void SensorTask(void *argument)
{
    SensorData_t d;
    uint32_t     cnt = 0;

    for (;;) {
        /* ① 三个驱动都是非阻塞状态机，每圈必须推 —— 少推一个就有一个传感器没读数 */
        Sht20_Task();        /* 内部节流，约 10ms 一步 */
        Ap3216_Task();       /* 内部节流 200ms */
        Power_Task();        /* ADC + DMA，内部节流 */

        /* ② 每 500ms 采一包 */
        if (++cnt >= 50) {           /* 10ms × 50 = 500ms */
            cnt = 0;

            if (Sht20_IsReady()) {
                d.temp_c  = Sht20_GetTemp();
                d.humi_rh = Sht20_GetHumi();
                d.valid   = 1;
            } else {
                d.valid   = 0;       /* 首轮没跑完，别把 0 当温度 */
            }

            d.light_lux = (uint16_t)Ap3216_GetLux();
            d.volt_v    = Power_GetVoltage();
            d.curr_a    = Power_GetCurrent();

            /* ③ 喂给状态机（App_State_Task 要用到温湿度） */
            if (d.valid) {
                App_State_SetEnv(d.temp_c, d.humi_rh);
            }
            App_State_Task();        /* 算 NORMAL / WARN / ALARM */

            /* ④ 送显示任务。timeout=0：队列满了就丢这一包，下一包 500ms 后还有 */
            (void)osMessageQueuePut(qSensorDataHandle, &d, 0, 0);
        }

        osDelay(10);
    }
}

/* USER CODE END Application */
